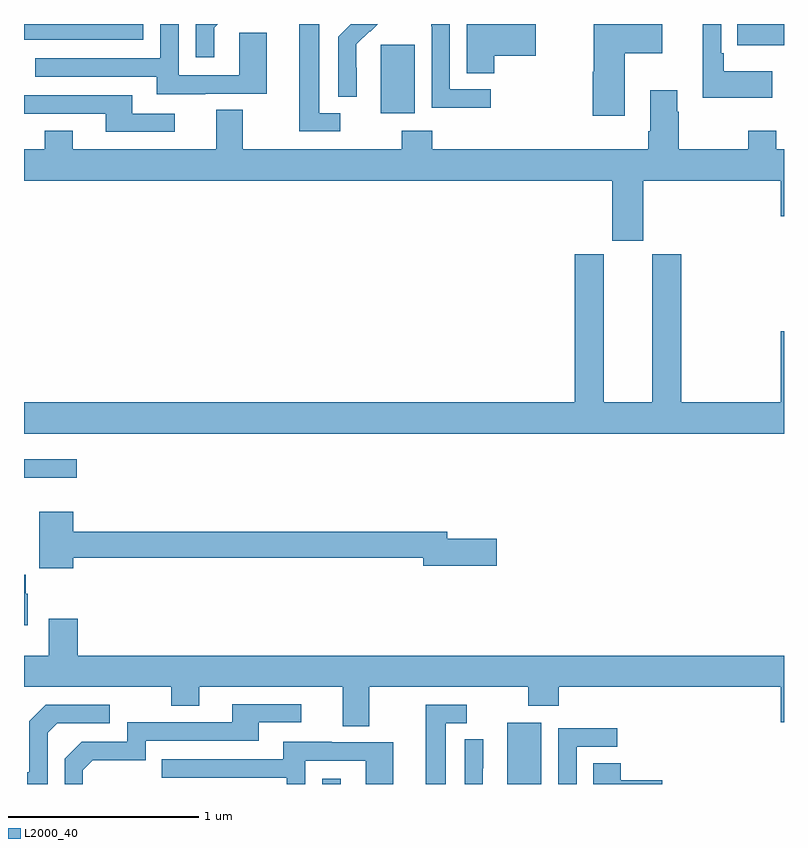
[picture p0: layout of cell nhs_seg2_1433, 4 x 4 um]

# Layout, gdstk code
import gdstk
lib = gdstk.Library(unit=1e-6, precision=1e-09)
def R(c, l, rs):  # rectangles x0, y0, x1, y1
    for r in rs: c.add(gdstk.rectangle(r[:2], r[2:], *l))
def P(c, l, *ps):  # polygons
    for p in ps: c.add(gdstk.Polygon(p, *l))
L2000_40 = (2000, 40)

nhs_seg2_1433 = lib.new_cell('nhs_seg2_1433')
R(nhs_seg2_1433, L2000_40, [(186.57,637.8,186.667,637.828), (187.544,637.8,187.723,638.122), (185,639.411,185.278,639.508), (186.878,641.33,187.057,641.691), (188.755,641.687,189,641.8), (185,641.718,185.628,641.8)])
P(nhs_seg2_1433, L2000_40, [(185.953,641.433),(186.277,641.433),(186.277,641.753),(186.132,641.753),(186.132,641.529),(185.814,641.529),(185.814,641.8),(185.718,641.8),(185.718,641.619),(185.059,641.619),(185.059,641.523),(185.699,641.523),(185.699,641.429),(185.953,641.429)],
  [(187.475,641.633),(187.693,641.633),(187.693,641.8),(187.331,641.8),(187.331,641.542),(187.475,641.542)],
  [(188.939,641.551),(188.683,641.551),(188.683,641.647),(188.67,641.647),(188.67,641.8),(188.573,641.8),(188.573,641.411),(188.939,641.411)],
  [(188.161,641.645),(188.359,641.645),(188.359,641.8),(187.999,641.8),(187.999,641.549),(187.994,641.549),(187.994,641.316),(188.161,641.316)],
  [(186.75,641.57),(186.749,641.57),(186.749,641.693),(186.819,641.763),(186.822,641.76),(186.862,641.8),(186.72,641.8),(186.654,641.734),(186.654,641.416),(186.75,641.416)],
  [(186.664,641.331),(186.553,641.331),(186.553,641.8),(186.449,641.8),(186.449,641.235),(186.664,641.235)],
  [(186.001,641.781),(186.02,641.8),(185.904,641.8),(185.904,641.625),(186.001,641.625)],
  [(187.456,641.457),(187.242,641.457),(187.242,641.8),(187.144,641.8),(187.144,641.788),(187.146,641.788),(187.146,641.359),(187.456,641.359)],
  [(188.984,640.788),(189,640.788),(189,641.14),(188.958,641.14),(188.958,641.239),(188.812,641.239),(188.812,641.14),(188.445,641.14),(188.445,641.339),(188.437,641.339),(188.437,641.452),(188.297,641.452),(188.297,641.236),(188.285,641.236),(188.285,641.14),(187.148,641.14),(187.148,641.239),(186.988,641.239),(186.988,641.14),(186.151,641.14),(186.151,641.348),(186.011,641.348),(186.011,641.14),(185.257,641.14),(185.257,641.239),(185.11,641.239),(185.11,641.14),(185,641.14),(185,640.976),(188.096,640.976),(188.096,640.659),(188.26,640.659),(188.26,640.976),(188.984,640.976)],
  [(185.794,641.328),(185.569,641.328),(185.569,641.424),(185,641.424),(185,641.328),(185.429,641.328),(185.429,641.232),(185.794,641.232)],
  [(189,640.183),(188.984,640.183),(188.984,639.808),(188.459,639.808),(188.459,640.587),(188.306,640.587),(188.306,639.808),(188.05,639.808),(188.05,640.587),(187.898,640.587),(187.898,639.808),(185,639.808),(185,639.644),(189,639.644)],
  [(185.26,638.992),(187.1,638.992),(187.1,638.95),(187.489,638.95),(187.489,639.092),(187.228,639.092),(187.228,639.128),(185.26,639.128),(185.26,639.232),(185.081,639.232),(185.081,638.936),(185.26,638.936)],
  [(185.02,638.802),(185.008,638.802),(185.008,638.902),(185,638.902),(185,638.636),(185.02,638.636)],
  [(185.282,638.671),(185.129,638.671),(185.129,638.476),(185,638.476),(185,638.312),(185.776,638.312),(185.776,638.213),(185.923,638.213),(185.923,638.312),(186.677,638.312),(186.677,638.104),(186.817,638.104),(186.817,638.312),(187.654,638.312),(187.654,638.213),(187.814,638.213),(187.814,638.312),(188.984,638.312),(188.984,638.124),(189,638.124),(189,638.476),(185.282,638.476)],
  [(185.31,637.872),(185.363,637.925),(185.64,637.925),(185.64,638.028),(186.235,638.028),(186.235,638.124),(186.46,638.124),(186.46,638.22),(186.095,638.22),(186.095,638.124),(185.544,638.124),(185.544,638.022),(185.304,638.022),(185.214,637.932),(185.214,637.8),(185.31,637.8)],
  [(185.124,638.07),(185.175,638.121),(185.452,638.121),(185.452,638.217),(185.115,638.217),(185.028,638.13),(185.028,637.861),(185.016,637.861),(185.016,637.8),(185.124,637.8)],
  [(187.219,638.121),(187.33,638.121),(187.33,638.217),(187.115,638.217),(187.115,637.8),(187.219,637.8)],
  [(187.908,637.995),(188.122,637.995),(188.122,638.094),(187.812,638.094),(187.812,637.8),(187.908,637.8)],
  [(187.415,637.882),(187.416,637.882),(187.416,638.036),(187.32,638.036),(187.32,637.8),(187.415,637.8)],
  [(186.48,637.923),(186.798,637.923),(186.798,637.8),(186.943,637.8),(186.943,638.019),(186.619,638.019),(186.619,638.023),(186.365,638.023),(186.365,637.929),(185.725,637.929),(185.725,637.833),(186.384,637.833),(186.384,637.8),(186.48,637.8)],
  [(188.359,637.82),(188.141,637.82),(188.141,637.91),(187.997,637.91),(187.997,637.8),(188.359,637.8)])

lib.write_gds('nhs_seg2_1433.gds')
